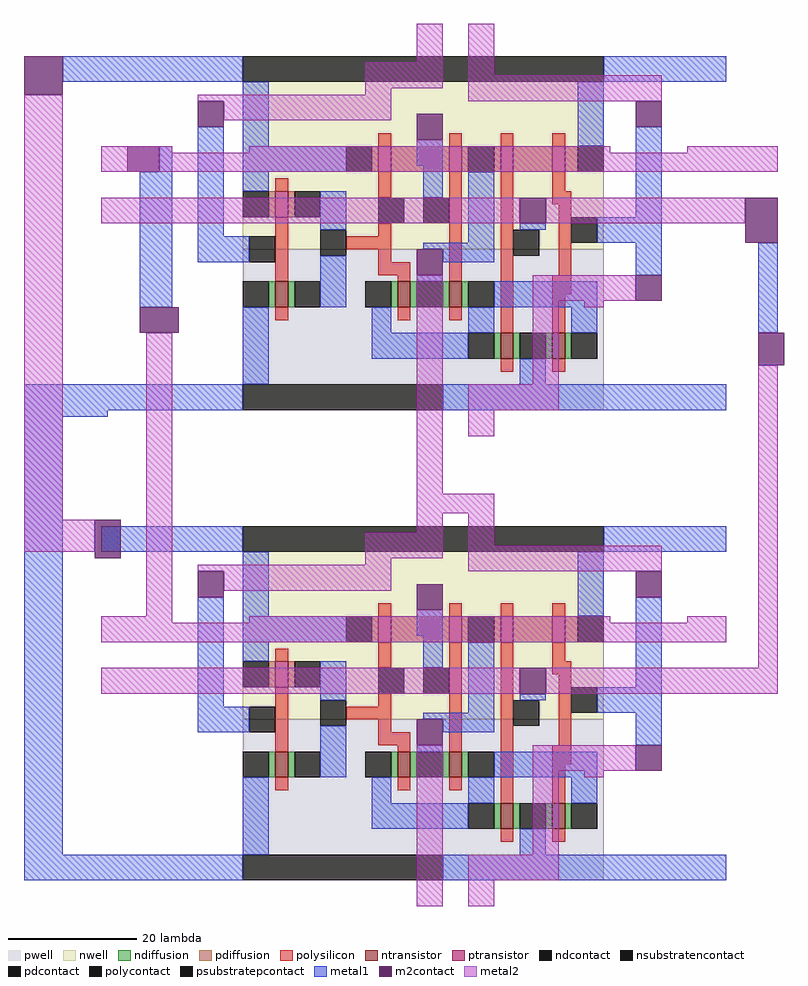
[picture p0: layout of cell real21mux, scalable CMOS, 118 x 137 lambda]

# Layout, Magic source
magic
tech scmos
<< metal1 >>
rect -6 56 1 60
rect 9 42 11 46
rect 6 21 11 42
rect 102 17 105 31
rect -12 4 1 9
rect -12 -64 -6 4
rect -12 -68 0 -64
<< metal2 >>
rect -12 -12 -6 54
rect 95 42 105 46
rect 7 34 12 38
rect 93 34 100 38
rect -12 -17 -1 -12
rect 7 -28 11 17
rect 49 -8 53 10
rect 49 -11 61 -8
rect 7 -31 12 -28
rect 102 -35 105 12
rect 92 -39 105 -35
<< m2contact >>
rect -12 54 -6 60
rect 4 42 9 46
rect 100 31 105 38
rect 6 17 12 21
rect 102 12 106 17
rect -1 -18 3 -12
use 2to1muxfixed  2to1muxfixed_0
transform 1 0 31 0 1 35
box -31 -34 66 30
use 2to1muxfixed  2to1muxfixed_1
transform 1 0 31 0 1 -38
box -31 -34 66 30
<< end >>

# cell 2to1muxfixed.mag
magic
tech scmos
<< pwell >>
rect -9 -30 47 -5
<< nwell >>
rect -9 -5 47 25
<< polysilicon >>
rect 12 11 14 13
rect 23 11 25 13
rect 31 11 33 13
rect 39 11 41 13
rect -4 4 -2 6
rect 12 3 14 7
rect -4 -10 -2 0
rect 12 -3 14 -1
rect 7 -5 14 -3
rect 12 -7 14 -5
rect 12 -9 17 -7
rect 15 -10 17 -9
rect 23 -10 25 7
rect -4 -16 -2 -14
rect 15 -16 17 -14
rect 23 -16 25 -14
rect 31 -18 33 7
rect 39 4 41 7
rect 39 2 42 4
rect 40 -9 42 2
rect 39 -12 42 -9
rect 39 -18 41 -12
rect 31 -24 33 -22
rect 39 -24 41 -22
<< ndiffusion >>
rect -5 -14 -4 -10
rect -2 -14 -1 -10
rect 14 -14 15 -10
rect 17 -14 18 -10
rect 22 -14 23 -10
rect 25 -14 26 -10
rect 30 -22 31 -18
rect 33 -22 34 -18
rect 38 -22 39 -18
rect 41 -22 42 -18
<< pdiffusion >>
rect 11 7 12 11
rect 14 7 23 11
rect 25 7 26 11
rect 30 7 31 11
rect 33 7 39 11
rect 41 7 43 11
rect -5 0 -4 4
rect -2 0 -1 4
<< metal1 >>
rect -31 21 -9 25
rect 47 21 66 25
rect -16 -3 -12 14
rect -9 11 -5 21
rect -9 7 7 11
rect 18 8 22 12
rect 43 11 47 21
rect -9 4 -5 7
rect 3 -2 7 4
rect 19 3 22 8
rect -16 -7 -8 -3
rect 26 -4 30 7
rect 52 0 56 14
rect 34 -2 38 -1
rect 19 -5 30 -4
rect 3 -14 7 -6
rect 22 -7 30 -5
rect 46 -4 56 0
rect 18 -10 22 -9
rect 52 -9 56 -4
rect 30 -14 46 -10
rect -9 -26 -5 -14
rect 11 -18 14 -14
rect 26 -18 30 -14
rect 42 -18 46 -14
rect 11 -22 26 -18
rect 34 -26 38 -22
rect -31 -30 -9 -26
rect 22 -30 66 -26
<< metal2 >>
rect 18 24 22 30
rect 10 20 22 24
rect 26 22 30 30
rect 10 19 14 20
rect -16 18 14 19
rect 26 18 56 22
rect -12 15 14 18
rect 18 11 22 12
rect -31 10 -20 11
rect -8 10 48 11
rect 60 10 66 11
rect -31 7 66 10
rect -31 -1 34 3
rect 38 -1 66 3
rect 18 -34 22 -9
rect 36 -13 52 -9
rect 36 -26 40 -13
rect 44 -14 47 -13
rect 26 -30 40 -26
rect 26 -34 30 -30
<< ntransistor >>
rect -4 -14 -2 -10
rect 15 -14 17 -10
rect 23 -14 25 -10
rect 31 -22 33 -18
rect 39 -22 41 -18
<< ptransistor >>
rect 12 7 14 11
rect 23 7 25 11
rect 31 7 33 11
rect 39 7 41 11
rect -4 0 -2 4
<< polycontact >>
rect -8 -7 -4 -3
rect 12 -1 16 3
rect 19 -1 23 3
rect 3 -6 7 -2
rect 33 -6 37 -2
rect 42 -4 46 0
<< ndcontact >>
rect -9 -14 -5 -10
rect -1 -14 3 -10
rect 10 -14 14 -10
rect 18 -14 22 -10
rect 26 -14 30 -10
rect 26 -22 30 -18
rect 34 -22 38 -18
rect 42 -22 46 -18
<< pdcontact >>
rect 7 7 11 11
rect 26 7 30 11
rect 43 7 47 11
rect -9 0 -5 4
rect -1 0 3 4
<< m2contact >>
rect -16 14 -12 18
rect 18 12 22 16
rect 52 14 56 18
rect 34 -1 38 3
rect 18 -9 22 -5
rect 52 -13 56 -9
<< psubstratepcontact >>
rect -9 -30 22 -26
<< nsubstratencontact >>
rect -9 21 47 25
<< labels >>
rlabel nwell -9 -5 47 25 8 Vdd
rlabel pwell -9 -30 47 -5 6 Gnd
rlabel metal2 26 -34 30 -26 5 Qb
rlabel metal2 18 -34 22 -9 5 D
rlabel metal2 18 20 22 30 1 divisor
rlabel space -8 7 58 11 3 loadb
rlabel metal2 38 -1 58 3 3 load
<< end >>
